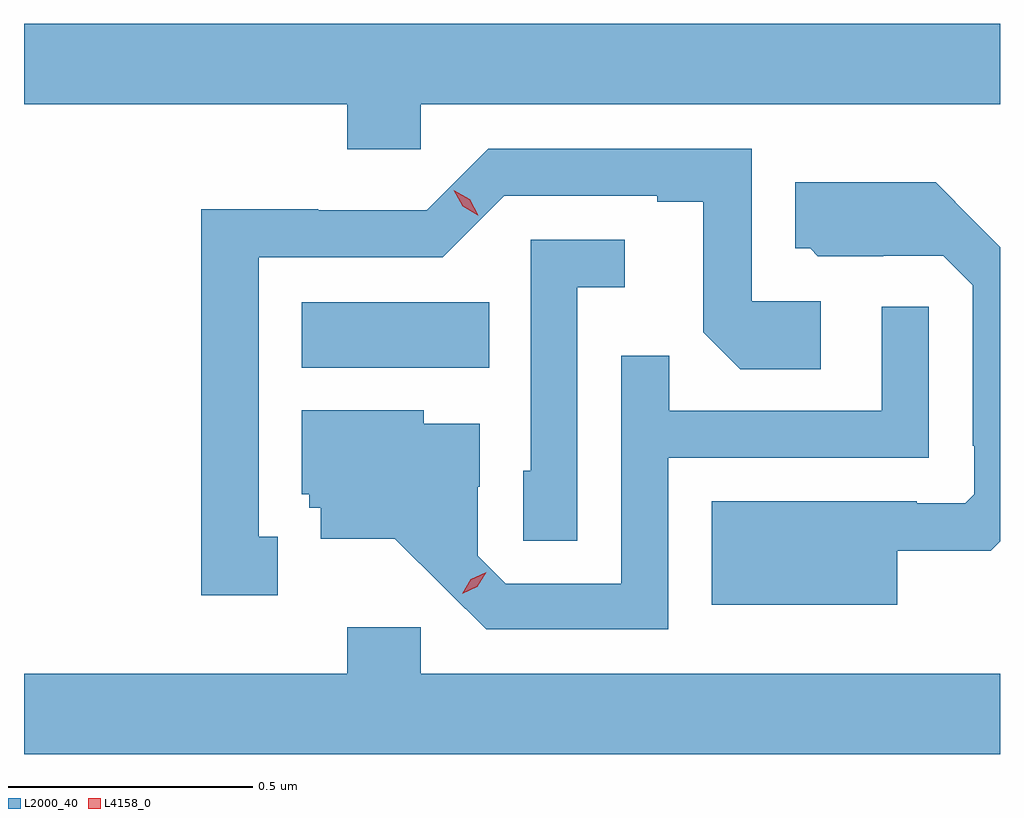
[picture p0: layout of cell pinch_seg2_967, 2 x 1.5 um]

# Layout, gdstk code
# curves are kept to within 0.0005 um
import gdstk
lib = gdstk.Library(unit=1e-6, precision=1e-09)
def R(c, l, rs):  # rectangles x0, y0, x1, y1
    for r in rs: c.add(gdstk.rectangle(r[:2], r[2:], *l))
def P(c, l, *ps):  # polygons
    for p in ps: c.add(gdstk.Polygon(p, *l))
L2000_40 = (2000, 40)
L4158_0 = (4158, 0)

pinch_seg2_967 = lib.new_cell('pinch_seg2_967')
R(pinch_seg2_967, L2000_40, [(315.194,661.748,315.578,661.882)])
P(pinch_seg2_967, L2000_40, [(315.438,662.288),(316.625,662.288),(316.625,662.452),(314.625,662.452),(314.625,662.288),(315.287,662.288),(315.287,662.195),(315.438,662.195)],
  [(315.145,661.401),(315.106,661.401),(315.106,661.974),(315.483,661.974),(315.609,662.1),(315.923,662.1),(315.923,662.088),(316.017,662.088),(316.017,661.82),(316.093,661.744),(316.258,661.744),(316.258,661.884),(316.116,661.884),(316.116,662.196),(315.576,662.196),(315.45,662.07),(315.228,662.07),(315.228,662.072),(314.988,662.072),(314.988,661.281),(315.145,661.281)],
  [(316.414,661.373),(316.606,661.373),(316.625,661.392),(316.625,661.994),(316.493,662.128),(316.205,662.128),(316.205,661.992),(316.236,661.992),(316.252,661.976),(316.386,661.976),(316.386,661.977),(316.509,661.977),(316.569,661.917),(316.569,661.588),(316.572,661.588),(316.572,661.488),(316.554,661.47),(316.454,661.47),(316.454,661.474),(316.034,661.474),(316.034,661.262),(316.414,661.262)],
  [(315.759,661.913),(315.856,661.913),(315.856,662.01),(315.663,662.01),(315.663,661.536),(315.648,661.536),(315.648,661.393),(315.759,661.393)],
  [(315.945,661.563),(316.479,661.563),(316.479,661.873),(316.383,661.873),(316.383,661.659),(315.947,661.659),(315.947,661.772),(315.849,661.772),(315.849,661.305),(315.612,661.305),(315.555,661.362),(315.555,661.504),(315.559,661.504),(315.559,661.633),(315.444,661.633),(315.444,661.66),(315.194,661.66),(315.194,661.488),(315.21,661.488),(315.21,661.461),(315.233,661.461),(315.233,661.397),(315.385,661.397),(315.572,661.212),(315.945,661.212)],
  [(316.625,661.12),(315.438,661.12),(315.438,661.216),(315.287,661.216),(315.287,661.12),(314.625,661.12),(314.625,660.956),(316.625,660.956)])
P(pinch_seg2_967, L4158_0, [(315.555,662.06),(315.524,662.079),(315.506,662.111),(315.506,662.111),(315.506,662.111),(315.538,662.093),(315.556,662.06),(315.556,662.06)],
  [(315.523,661.284),(315.523,661.284),(315.54,661.314),(315.572,661.329),(315.572,661.329),(315.572,661.329),(315.554,661.299),(315.523,661.284)])

lib.write_gds('pinch_seg2_967.gds')
